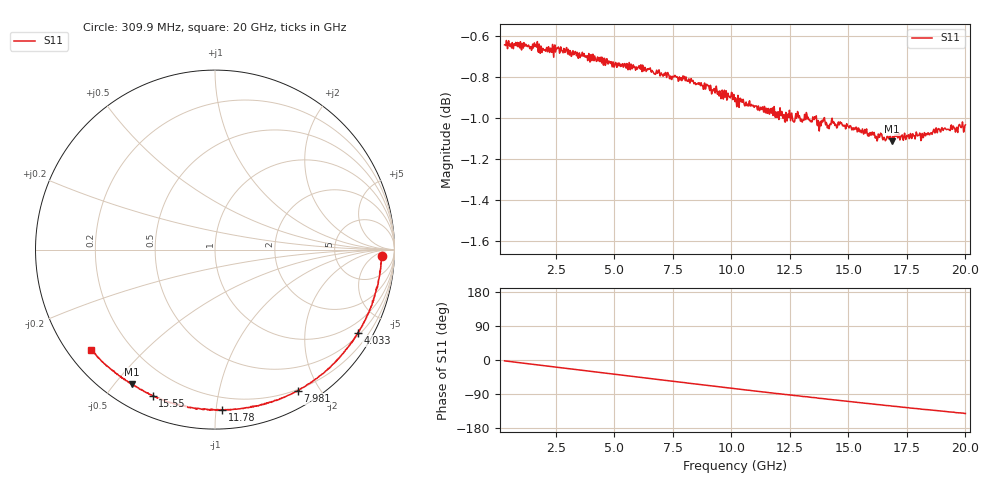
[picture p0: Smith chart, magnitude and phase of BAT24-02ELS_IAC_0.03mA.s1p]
! Infineon Technologies  Discrete & RF Semiconductors
! BAT24-02ELS
! IAC = 0.03 mA
! One-Port S-Parameters
# Hz  S  MA  R  50
!f  S11
!Hz  Mag  Ang
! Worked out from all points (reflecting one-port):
!   789 points, 309.9 MHz to 20 GHz, reference 50 ohm
!   lowest |S11| = -1.1 dB at 16.85 GHz (marker M1), VSWR 15.62, Z = 4.19 - j27.7 ohm
!   phase of S11 starts at -2 deg and turns -139 deg over the sweep
!   S11 on the Smith chart (normalised r, x): 309.9 MHz: 21, -11; 4.033 GHz: 0.59, -3.60; 7.981 GHz: 0.18, -1.73; 11.78 GHz: 0.12, -1.04; 15.55 GHz: 0.09, -0.66; 20 GHz: 0.07, -0.35
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3.0985e8  0.9285 -2.3
8.59575e8  0.9297 -6.4
1.634188e9  0.9286 -12.3
2.783612e9  0.9249 -20.9
4.032988e9  0.9203 -30.3
5.232388e9  0.9184 -39.3
5.782112e9  0.9174 -43.3
6.581712e9  0.9144 -49.3
7.70615e9  0.9115 -57.7
7.981012e9  0.9123 -59.6
8.980512e9  0.9076 -67.0
1.015492e10  0.8994 -75.7
1.082959e10  0.8973 -80.5
1.177911e10  0.8925 -87.4
1.262869e10  0.8897 -93.3
1.355322e10  0.8919 -99.3
1.375312e10  0.8848 -101.2
1.432784e10  0.8893 -104.6
1.507746e10  0.8874 -109.6
1.555222e10  0.8839 -113.1
1.685158e10  0.8797 -121.7
1.755122e10  0.8827 -125.7
1.870065e10  0.8838 -133.1
1.892554e10  0.8844 -134.6
1.945028e10  0.8856 -137.7
1.965018e10  0.8849 -139.1
1.982509e10  0.8864 -140.1
2e10  0.8878 -141.1
